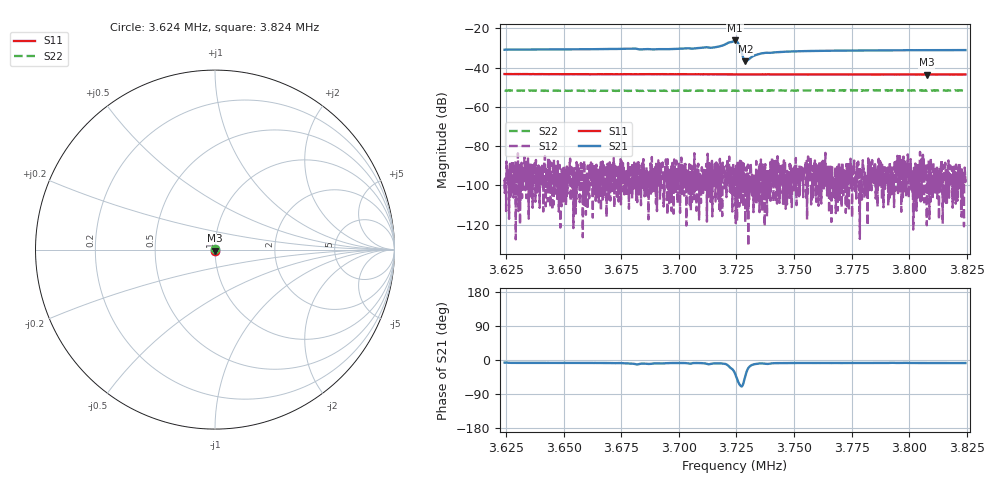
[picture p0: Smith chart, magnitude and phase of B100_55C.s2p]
# Hz S dB R 50.000
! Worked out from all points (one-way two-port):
!   6401 points, 3.624 MHz to 3.824 MHz, reference 50 ohm
!   highest |S21| = -26.24 dB at 3.724 MHz (marker M1); lowest = -36.8 dB at 3.729 MHz (marker M2)
!   lowest |S11| = -43.6 dB at 3.808 MHz (marker M3), VSWR 1.01, Z = 50 - j0.66 ohm
!   |S11| at or under -10 dB: start of sweep to end of sweep
!   |S22| runs from -52.0 to -51.4 dB; largest |S21 - S12| = 0.049
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3624375  -43.32 -92.8  -30.95 -6.9  -97.11 -161.2  -51.59 30.9
3657719  -43.42 -93.1  -30.73 -7.8  -98.31 -117.4  -51.80 30.9
3677938  -43.40 -93.0  -30.39 -9.1  -90.99 91.8  -51.90 30.6
3683094  -43.41 -93.0  -30.82 -10.0  -90.48 33.5  -51.91 31.0
3691062  -43.39 -93.0  -30.66 -8.9  -87.98 51.8  -51.86 32.2
3714594  -43.43 -92.9  -29.90 -9.4  -99.95 66.1  -51.86 31.9
3718469  -43.48 -93.0  -29.00 -9.1  -96.94 -104.6  -51.81 31.5
3721500  -43.45 -92.7  -27.35 -15.4  -99.24 22.4  -51.80 31.9
3724375  -43.51 -93.0  -26.24 -35.6  -101.38 -143.4  -51.84 32.1
3725125  -43.48 -92.9  -26.56 -47.8  -95.06 -67.5  -51.84 32.7
3725844  -43.48 -92.9  -27.89 -59.0  -92.48 -129.6  -51.79 32.2
3726500  -43.47 -93.0  -29.63 -66.0  -91.18 -74.2  -51.79 32.2
3728000  -43.45 -92.9  -35.42 -61.5  -102.47 56.4  -51.69 31.2
3728438  -43.47 -93.1  -36.49 -51.3  -96.69 -49.7  -51.74 33.0
3728875  -43.46 -93.0  -36.81 -40.8  -96.82 53.2  -51.77 32.8
3729656  -43.49 -92.7  -36.46 -27.1  -103.66 -10.2  -51.74 32.4
3733062  -43.50 -93.0  -33.80 -10.8  -103.09 38.6  -51.76 32.5
3736969  -43.49 -93.0  -32.56 -9.3  -93.92 43.0  -51.79 32.0
3757719  -43.51 -92.9  -31.59 -7.8  -95.91 16.5  -51.78 32.1
3791062  -43.49 -93.6  -31.31 -7.7  -97.50 0.8  -51.66 32.2
3807500  -43.59 -93.6  -31.19 -8.0  -106.51 -80.6  -51.69 32.6
3824375  -43.50 -93.6  -31.14 -8.0  -95.11 -74.8  -51.56 32.5
